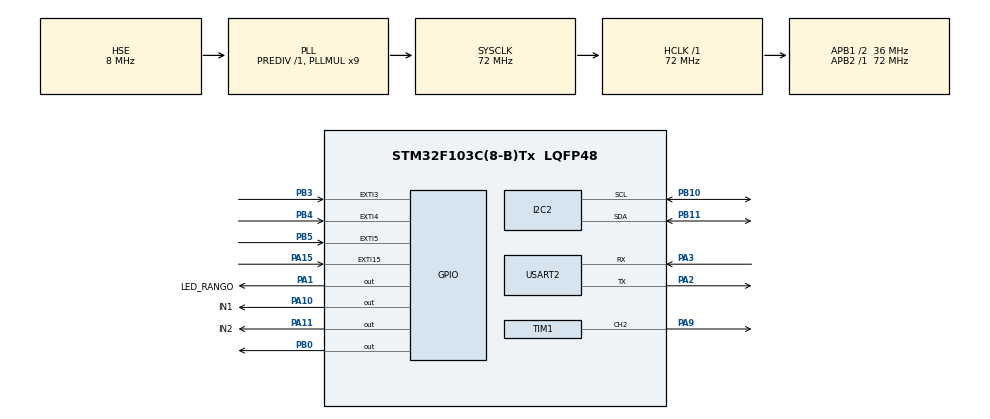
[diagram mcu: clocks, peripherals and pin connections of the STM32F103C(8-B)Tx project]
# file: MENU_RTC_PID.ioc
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Mcu.Family=STM32F1
RCC.PLLSourceVirtual=RCC_PLLSOURCE_HSE
NVIC.EXTI4_IRQn=true\:5\:0\:true\:false\:true\:true\:true
PD1-OSC_OUT.Mode=HSE-External-Oscillator
PB10.Mode=I2C
PB4.GPIO_ModeDefaultEXTI=GPIO_MODE_IT_FALLING
NVIC.EXTI3_IRQn=true\:5\:0\:true\:false\:true\:true\:true
PA11.GPIO_Label=IN2
PD0-OSC_IN.Signal=RCC_OSC_IN
PB3.GPIO_ModeDefaultEXTI=GPIO_MODE_IT_FALLING
RCC.APB1CLKDivider=RCC_HCLK_DIV2
PB11.Signal=I2C2_SDA
RCC.SYSCLKSource=RCC_SYSCLKSOURCE_PLLCLK
ProjectManager.StackSize=0x400
PD1-OSC_OUT.Signal=RCC_OSC_OUT
PA3.Mode=Asynchronous
PA13.Signal=SYS_JTMS-SWDIO
TIM1.Prescaler=71
PB11.Mode=I2C
ProjectManager.TargetToolchain=STM32CubeIDE
PA15.GPIO_ModeDefaultEXTI=GPIO_MODE_IT_FALLING
RCC.HCLKFreq_Value=72000000
RCC.APB2TimFreq_Value=72000000
PA9.Signal=S_TIM1_CH2
TIM1.Channel-PWM\ Generation2\ CH2=TIM_CHANNEL_2
PB4.GPIO_PuPd=GPIO_PULLUP
RCC.USBFreq_Value=72000000
PA1.Signal=GPIO_Output
RCC.AHBFreq_Value=72000000
PD0-OSC_IN.Mode=HSE-External-Oscillator
PB10.Signal=I2C2_SCL
NVIC.EXTI15_10_IRQn=true\:5\:0\:true\:false\:true\:true\:true
board=custom
RCC.PLLMUL=RCC_PLL_MUL9
RCC.APB2Freq_Value=72000000
PB3.GPIO_PuPd=GPIO_PULLUP
SH.S_TIM1_CH2.0=TIM1_CH2,PWM Generation2 CH2
PA14.Mode=Serial_Wire
NVIC.TIM2_IRQn=true\:0\:0\:false\:false\:true\:false\:true
PA10.GPIO_Label=IN1
PA1.GPIO_Label=LED_RANGO
PA13.Mode=Serial_Wire
Mcu.Name=STM32F103C(8-B)Tx
PA2.Signal=USART2_TX
PB3.Signal=GPXTI3
RCC.SYSCLKFreq_VALUE=72000000
Mcu.Package=LQFP48
PB5.Signal=GPXTI5
VP_SYS_VS_tim2.Mode=TIM2
NVIC.TimeBase=TIM2_IRQn
USART2.VirtualMode=VM_ASYNC
PB5.GPIO_PuPd=GPIO_PULLUP
PA11.Signal=GPIO_Output
NVIC.TimeBaseIP=TIM2
NVIC.EXTI9_5_IRQn=true\:5\:0\:true\:false\:true\:true\:true
PA10.Signal=GPIO_Output
PA14.Signal=SYS_JTCK-SWCLK
PA15.Signal=GPXTI15
ProjectManager.HeapSize=0x200
NVIC.PriorityGroup=NVIC_PRIORITYGROUP_4
PA15.GPIO_PuPd=GPIO_PULLUP
RCC.APB1TimFreq_Value=72000000
PA2.Mode=Asynchronous
TIM1.Period=999
RCC.APB1Freq_Value=36000000
PB0.Signal=GPIO_Output
PB4.Signal=GPXTI4
PA3.Signal=USART2_RX
PB5.GPIO_ModeDefaultEXTI=GPIO_MODE_IT_FALLING

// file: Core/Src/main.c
/* USER CODE BEGIN Header */
/**
  ******************************************************************************
  * @file           : main.c
  * @brief          : Main program body
  ******************************************************************************
  * @attention
  *
  * <h2><center>&copy; Copyright (c) 2025 STMicroelectronics.
  * All rights reserved.</center></h2>
  *
  * This software component is licensed by ST under BSD 3-Clause license,
  * the "License"; You may not use this file except in compliance with the
  * License. You may obtain a copy of the License at:
  *                        opensource.org/licenses/BSD-3-Clause
  *
  ******************************************************************************
  */
/* USER CODE END Header */
#include "main.h"
#include "FreeRTOS.h"
#include "task.h"
#include "queue.h"
#include "lcd_i2c.h"
#include <stdio.h>
#include <string.h>
#include "semphr.h"
#include "math.h"

/* USER CODE BEGIN Includes */

#define MIN_PWM       200    // valor mínimo de PWM para mover el motor

/* USER CODE END Includes */

I2C_HandleTypeDef hi2c2;

TIM_HandleTypeDef htim1;

UART_HandleTypeDef huart2;

/* USER CODE BEGIN PV */

QueueHandle_t I2C_txQueue;
QueueHandle_t I2C_rxQueue;
QueueHandle_t angleQueue;
QueueHandle_t rtcQueue;
QueueHandle_t angleQueuePID;
QueueHandle_t controlQueue;

SemaphoreHandle_t sem_btn0;
SemaphoreHandle_t sem_btn1;
SemaphoreHandle_t sem_btn2;
SemaphoreHandle_t sem_btn3;

typedef struct {
    float angle;   // setpoint en grados
    uint8_t mode;     // 0 = lento, 1 = rápido
    float margen;  // margen del setpoint
} ControlParams_t;

typedef struct {
    uint16_t angle;   // 0–360
    uint8_t mode;     // Control mode: 0=normal, 1=lento
} setpoint_t;

volatile uint8_t editing_setpoint = 0;
volatile uint8_t editing_datalogg = 0;
volatile uint8_t edit_sp_field = 0; // 0 = centenas, 1 = decenas, 2 = unidades, 3 = modo
volatile uint8_t last_index=99;
volatile uint16_t datalog_index = 0;   // índice actual (0..datalog_count-1)
volatile uint16_t datalog_count = 15;   // cantidad de líneas guardadas (get_data_offset_line)

uint8_t datalogg = 0;

uint8_t editing_margin = 0;
int edit_margin_field = 0;   // 0 = decenas, 1 = unidades

int margin_value = 1;                      // Margen de 1 Grado por defecto en Tarea button
volatile setpoint_t sp_editing = {0, 1};   // Setpoint en 0 grados y Modo lento en Tarea button

typedef enum {
    RECEIVE,
    TRANSMIT
} i2c_op_t;

typedef struct {
    uint16_t device_id;
    uint8_t reg;
    i2c_op_t type;
    uint8_t n_bytes;
    uint8_t *data;
} i2cQueue_t;

typedef struct {
    uint8_t sec, min, hour, day, month, year;
} rtc_time_t;

typedef enum {
    MENU_SETPOINT = 0,
    MENU_SET_TIME,
	MENU_MARGEN,
	MENU_DATALOGGER,
	MENU_TOTAL_ITEMS
} menu_option_t;

typedef struct {
    uint16_t sec_min, hour_day, month_year;
} rtc_time_halfword_t;

volatile menu_option_t menu_selected = MENU_SETPOINT;
volatile uint8_t editing_time = 0;
volatile uint8_t edit_field = 0;
rtc_time_t rtc_editing;

// PID variables

float kp = 5.0f;
float ki = 0.002f;
float kd = 0.1f;
float pid_integral = 0.0f;
float pid_last_error = 0.0f;

// PWM limits
uint16_t pwm_max = 500;   // Máxima salida
uint16_t pwm_slow = 250;  // Modo lento

uint32_t flashAddress = 0x0800FC00; // Last 1KB page (page 63)
#define FLASH_ADDRESS_PAGE 63

/* USER CODE END PV */

void SystemClock_Config(void);
static void MX_GPIO_Init(void);
static void MX_I2C2_Init(void);
static void MX_USART2_UART_Init(void);
static void MX_TIM1_Init(void);
/* USER CODE BEGIN PFP */

void write_flash(uint32_t address, uint32_t offset, uint16_t data);
void read_flash(uint8_t* readValue,uint8_t offset);
void erase_flash(uint32_t pageAddress);
int  save_struct_flash(const rtc_time_t *data, float error, float setpoint); //1 si error , 0 si ok
void save_time_data(const rtc_time_t *data, uint32_t offset);
void save_data_value(float setpoint, float error, uint32_t offset);
uint8_t get_data_offset();
void read_time_date(rtc_time_t *data,uint32_t line);
void read_saved_sp(float *data,uint32_t line);
void read_saved_err(float *data,uint32_t line);
uint32_t get_data_offset_line();

/* USER CODE END PFP */

/* USER CODE BEGIN 0 */

void write_flash(uint32_t address, uint32_t offset, uint16_t data){
	//uint32_t flashAddress = 0x0800FC00; // Last 1KB page (page 63)
    if(address < 0x08000000 || address >= 0x08010000) {
        return; // Invalid address
    }
    //SOLO PUEDO ESCRIBIR DE A MEDIA PALABRA = 16BITS
    HAL_FLASH_Unlock();
    uint32_t write_address = address+(1*offset);
    HAL_FLASH_Program(FLASH_TYPEPROGRAM_HALFWORD, write_address, data);
    HAL_FLASH_Lock();
}
void read_flash(uint8_t* readValue,uint8_t offset){

    *readValue = *(__IO uint8_t*)(flashAddress+(offset));
}
void read_time_date(rtc_time_t *data,uint32_t line){
	rtc_time_t temp;
	read_flash(&temp.sec, 	0x10*line +	0);
	read_flash(&temp.min, 	0x10*line +	1);
	read_flash(&temp.hour, 	0x10*line +	2);
	read_flash(&temp.day, 	0x10*line +	3);
	read_flash(&temp.month, 	0x10*line +	4);
	read_flash(&temp.year, 	0x10*line +	5);

	*data=temp;
}
void read_saved_sp(float *data,uint32_t line){
	uint8_t temp_int;
	uint8_t temp_flt;
	read_flash(&temp_int, 	0x10*line +	8);
	read_flash(&temp_flt, 	0x10*line +	9);
	*data	=	(float)temp_int + ((float)temp_flt / 100.0f);
}
void read_saved_err(float *data,uint32_t line){
	uint8_t temp_int;
	uint8_t temp_flt;
	read_flash(&temp_int, 	0x10*line +	12);
	read_flash(&temp_flt, 	0x10*line +	13);
	*data	=	(float)temp_int + ((float)temp_flt / 100.0f);
}

void erase_flash(uint32_t pageAddress){
	//HACER FULL ERASE LA PRIMERA VEZ QUE CORRE EL PROGRAMA
	    if((pageAddress < 0x08000000) ||
	       (pageAddress >= 0x08010000) ||
	       ((pageAddress & 0x3FF) != 0)) { // Checkeo 1KB alineamiento
	        return;
	    }
	    FLASH_EraseInitTypeDef eraseInit;
	    eraseInit.TypeErase = FLASH_TYPEERASE_PAGES;
	    eraseInit.PageAddress = pageAddress;
	    eraseInit.NbPages = 1;
	    uint32_t PageError;
	    HAL_FLASH_Unlock();
	    HAL_FLASHEx_Erase(&eraseInit, &PageError);
	    HAL_FLASH_Lock();
}
int save_struct_flash(const rtc_time_t *data, float error, float setpoint){
	uint8_t offset=get_data_offset();
	if(offset>=250) return 1;	//maximo 15 valores a guardar
	save_time_data(data, offset);
	save_data_value(setpoint, error, offset);
	return 0;
}

void save_time_data(const rtc_time_t *data, uint32_t offset){
	//en bytes=
	//SEG,MIN ; HORA,DIA ; MES,ANIO ; 0XAA,0XAA ; SP(INT),SP(FLOAT) ; 0XAA,0XAA ; ERR(INT),ERR(FLOAT)
	//escribo en halfwords
	rtc_time_halfword_t half_word_data;
	memcpy(&half_word_data, data, sizeof(rtc_time_t));
	write_flash(flashAddress,offset, half_word_data.sec_min);
	write_flash(flashAddress,2+offset, half_word_data.hour_day);
	write_flash(flashAddress,4+offset, half_word_data.month_year);
	write_flash(flashAddress,6+offset, 0xAAAA);
}
void save_data_value(float setpoint, float error, uint32_t offset){
	uint32_t off=offset+8;
	uint8_t sp_int,err_int;
	uint8_t sp_flt,err_flt;
	uint16_t sp,err;
	sp_int=(int)setpoint;
	err_int=(int)error;
	sp_flt=(int)((setpoint-sp_int)*100);
	err_flt=(int)((error-err_int)*100);
	sp=sp_flt<<8 | sp_int;
	err=err_flt<<8 | err_int;

	write_flash(flashAddress, off, sp);
	write_flash(flashAddress,2+off, 0xAAAA);
	write_flash(flashAddress,4+off, err);
	write_flash(flashAddress,6+off, 0xAAAA);
}
uint8_t get_data_offset(){
	//SIEMPRE CORRER ESTO PRIMERO PARA OBTENER EL OFFSET
	int temp=0;
	uint8_t read_value;
	uint8_t last_read_value=0x00;
	uint8_t last_last_read_value=0xFF;
	for(temp=0;temp<200;temp++){
		read_flash(&read_value,temp);
		if(read_value==0xFF && last_read_value==0xAA && last_last_read_value==0xAA) {
			return (temp);
		}
		if(read_value==0xFF && last_read_value==0xFF && last_last_read_value==0xFF) {
			return (0);
		}
		last_last_read_value=last_read_value;
		last_read_value=read_value;
	}
	return 0;
	//La func retorna el offset de flashadress donde escribir el prox valor
}
uint32_t get_data_offset_line(){
	uint8_t temp=0;
	temp=get_data_offset();
	if(temp==0)return 0;
	else return (temp>>4);
}

static float angle_error(float set, float current) {
    float e = set - current;
    if (e > 180.0f)  e -= 360.0f;
    if (e < -180.0f) e += 360.0f;
    return e;
}

static void motor_stop(void) {
    __HAL_TIM_SET_COMPARE(&htim1, TIM_CHANNEL_2, 0);
    HAL_GPIO_WritePin(IN1_GPIO_Port, IN1_Pin, GPIO_PIN_RESET);
    HAL_GPIO_WritePin(IN2_GPIO_Port, IN2_Pin, GPIO_PIN_RESET);
}

void I2C_controllerTask(void *pvParameters) {
    i2cQueue_t i2cq;
    uint8_t temp[8];
    while (1) {
        xQueueReceive(I2C_txQueue, &i2cq, portMAX_DELAY);
        if (i2cq.type == RECEIVE) {
            HAL_I2C_Master_Transmit(&hi2c2, i2cq.device_id, &i2cq.reg, 1, 10);
            HAL_I2C_Master_Receive(&hi2c2, i2cq.device_id, temp, i2cq.n_bytes, 10);
            xQueueSend(I2C_rxQueue, temp, portMAX_DELAY);
        } else {
            temp[0] = i2cq.reg;
            for (uint8_t i = 0; i < i2cq.n_bytes; i++) temp[i + 1] = i2cq.data[i];
            HAL_I2C_Master_Transmit(&hi2c2, i2cq.device_id, temp, i2cq.n_bytes + 1, 10);
        }
    }
}
void as5600_readerTask(void *pvParameters) {
    uint8_t raw_data[2];
    float angle_deg;

    i2cQueue_t i2cq;
    i2cq.device_id = 0x36 << 1;
    i2cq.reg = 0x0E;  // ANGLE register (MSB)
    i2cq.type = RECEIVE;
    i2cq.n_bytes = 2;
    i2cq.data = raw_data;

    while (1) {
        xQueueSend(I2C_txQueue, &i2cq, portMAX_DELAY);
        xQueueReceive(I2C_rxQueue, raw_data, portMAX_DELAY);

        uint16_t raw_angle = ((uint16_t)raw_data[0] << 8) | raw_data[1];
        angle_deg = (float)raw_angle * 360.0f / 4096.0f;

        xQueueOverwrite(angleQueuePID, &angle_deg);
        vTaskDelay(pdMS_TO_TICKS(20));
    }
}

void pid_controlTask(void *pvParameters) {
    float angle;
    float last_error = 0.0f;
    ControlParams_t params;   // Para recibir de controlQueue

    // Control mode: 0=normal, 1=lento

    uint8_t slow_mode = 1;      // modo lento en el Encendido
    float DEADBAND_DEG = 1.0f;  // Margen en 1 grado en el Encendido
    float setpoint = 0.0f - 26.0f;    // Setpoint en 0 grados en el Encendido

    HAL_TIM_PWM_Start(&htim1, TIM_CHANNEL_2);
    TickType_t last_tick = xTaskGetTickCount();

    for (;;) {
        xQueueReceive(angleQueuePID, &angle, portMAX_DELAY);

        if (xQueueReceive(controlQueue, &params, 0) == pdTRUE) {
               setpoint   = params.angle - 26.0f;          // actualizar setpoint
               slow_mode  = params.mode;           // actualizar modo
               DEADBAND_DEG = params.margen;       // actualizar margen
               }

        // Calcular dt real
        TickType_t now_tick = xTaskGetTickCount();
        float dt = (now_tick - last_tick) / (float)configTICK_RATE_HZ;
        if (dt <= 0) dt = 0.001f;
        last_tick = now_tick;

        float error = angle_error(setpoint, angle);

        // Si está dentro de la zona muerta, detener motor
        if (fabs(error) <= DEADBAND_DEG) {
            motor_stop();
            HAL_GPIO_WritePin(LED_RANGO_GPIO_Port, LED_RANGO_Pin, GPIO_PIN_RESET);
            pid_integral = 0.0f;
            vTaskDelay(pdMS_TO_TICKS(20));
            continue; // se utiliza para salir del loop de la tarea si se cumple la condicion fabs(error) <= DEADBAND_DEG
        }else{
        	HAL_GPIO_WritePin(LED_RANGO_GPIO_Port, LED_RANGO_Pin, GPIO_PIN_SET);
        }

        // PID
        pid_integral += error * dt;
        float derivative = (error - last_error) / dt;
        last_error = error;

        float output = kp * error + ki * pid_integral + kd * derivative;

        // Limitar salida
        float limit = slow_mode ? pwm_slow : pwm_max;
        if (output > limit) output = limit;
        if (output < -limit) output = -limit;

        // Dirección
        if (output > 0) {
            HAL_GPIO_WritePin(IN1_GPIO_Port, IN1_Pin, GPIO_PIN_SET);
            HAL_GPIO_WritePin(IN2_GPIO_Port, IN2_Pin, GPIO_PIN_RESET);
        } else {
            HAL_GPIO_WritePin(IN1_GPIO_Port, IN1_Pin, GPIO_PIN_RESET);
            HAL_GPIO_WritePin(IN2_GPIO_Port, IN2_Pin, GPIO_PIN_SET);
        }
        // Forzar PWM mínimo cuando no está en la zona muerta
        if (fabs(output) < MIN_PWM) {
            if (output > 0) output = MIN_PWM;
            else output = -MIN_PWM;
        }

        // PWM
        __HAL_TIM_SET_COMPARE(&htim1, TIM_CHANNEL_2, fabs(output));

        vTaskDelay(pdMS_TO_TICKS(20)); // ~50 Hz loop
    }
}

void buttonHandlerTask(void *pvParameters) {
    TickType_t lastPress[4] = {0};

    while (1) {
        TickType_t now = xTaskGetTickCount();

        // --- BOTÓN 1 (PA0): cambiar opción o guardar valores ---
        if (xSemaphoreTake(sem_btn0, 0) == pdTRUE && (now - lastPress[0] > pdMS_TO_TICKS(200))) {
            if (HAL_GPIO_ReadPin(GPIOB, GPIO_PIN_3) == GPIO_PIN_RESET) {
                lastPress[0] = now;

                if (!editing_time && !editing_setpoint && !editing_margin) {
                    menu_selected = (menu_selected + 1) % MENU_TOTAL_ITEMS;
                } else if (editing_time) {
                    // Guardar RTC en DS1307
                    uint8_t buf[7];
                    buf[0] = (((rtc_editing.sec / 10) << 4) | (rtc_editing.sec % 10)) & 0x7F;
                    buf[1] = ((rtc_editing.min/10)<<4)|(rtc_editing.min%10);
                    buf[2] = ((rtc_editing.hour/10)<<4)|(rtc_editing.hour%10);
                    buf[3] = 1;
                    buf[4] = ((rtc_editing.day/10)<<4)|(rtc_editing.day%10);
                    buf[5] = ((rtc_editing.month/10)<<4)|(rtc_editing.month%10);
                    buf[6] = ((rtc_editing.year/10)<<4)|(rtc_editing.year%10);
                    i2cQueue_t i2cq = {0x68 << 1, 0x00, TRANSMIT, 7, buf};
              //      xQueueSend(I2C_txQueue, &i2cq, portMAX_DELAY);
                    editing_time = 0;
                }else if (editing_setpoint) {
                    // Guardar setpoint definitivo
                    editing_setpoint = 0;
                    rtc_time_t placeholder={99,99,99,22,22,22};
                    save_struct_flash(&placeholder, sp_editing.angle, margin_value);
                }else if (editing_margin) {
                    // Guardar margen definitivo
                    editing_margin = 0;
                }
                if (editing_datalogg) {         // salir de DATALOGGER
                    editing_datalogg = 2;
                    last_index = 99;
                }

                ControlParams_t msg;
                msg.angle  = sp_editing.angle;
                msg.mode   = sp_editing.mode;
                msg.margen = margin_value;
                xQueueOverwrite(controlQueue, &msg);
            }
        }

        // --- BOTÓN 2 (PA1): entrar o cambiar campo ---
        if (xSemaphoreTake(sem_btn1, 0) == pdTRUE && (now - lastPress[1] > pdMS_TO_TICKS(200))) {
            if (HAL_GPIO_ReadPin(GPIOA, GPIO_PIN_15) == GPIO_PIN_RESET) {
                lastPress[1] = now;
                if(menu_selected == MENU_DATALOGGER && editing_datalogg && !datalogg){
                	erase_flash(flashAddress);
                	datalog_index = 0;
                	editing_datalogg = 2;
                	last_index = 99;
                }
                if (menu_selected == MENU_DATALOGGER && !datalogg){
                					datalog_index = 0;
                					last_index = 99;
                                	editing_datalogg = 1;
                                }
                else if (menu_selected == MENU_SET_TIME && !editing_time) {
                       if (xQueuePeek(rtcQueue, &rtc_editing, 0) != pdTRUE) {
                        rtc_editing.hour = 0;
                        rtc_editing.min = 0;
                        rtc_editing.sec = 0;
                        rtc_editing.day = 1;
                        rtc_editing.month = 1;
                        rtc_editing.year = 0;
                    }
                    editing_time = 1;
                    edit_field = 0; // empezamos siempre en hora
                    // Forzar un "redibujado" inmediato del menú

                } else if (menu_selected == MENU_SETPOINT && !editing_setpoint) {
                    editing_setpoint = 1;
                    edit_sp_field = 0; // empezar en centenas
                } else if (menu_selected == MENU_MARGEN && !editing_margin) {
                     editing_margin = 1;
                     edit_margin_field = 0; // empezar en decenas

                      } else if (editing_time) {
                         edit_field = (edit_field + 1) % 6;

                      } else if (editing_setpoint) {
                          edit_sp_field = (edit_sp_field + 1) % 4;

                      } else if (editing_margin) {
                          edit_margin_field = (edit_margin_field + 1) % 2; // decenas o unidades
                      }
            }
        }

        // --- BOTÓN 3 (PA2): subir valor ---
        if (xSemaphoreTake(sem_btn2, 0) == pdTRUE && (now - lastPress[2] > pdMS_TO_TICKS(200))) {
            if (HAL_GPIO_ReadPin(GPIOB, GPIO_PIN_5) == GPIO_PIN_RESET) {
                lastPress[2] = now;

                if (editing_time) {
                    switch (edit_field) {
                        case 0: if (++rtc_editing.hour > 23) rtc_editing.hour = 0; break;
                        case 1: if (++rtc_editing.min > 59)  rtc_editing.min = 0; break;
                        case 2: if (++rtc_editing.sec > 59)  rtc_editing.sec = 0; break;
                        case 3: if (++rtc_editing.day > 31)  rtc_editing.day = 1; break;
                        case 4: if (++rtc_editing.month > 12)rtc_editing.month = 1; break;
                        case 5: if (++rtc_editing.year > 99) rtc_editing.year = 0; break;
                    }
                }else if (editing_setpoint) {
                	     if (edit_sp_field == 0) { // centenas
                	            if (sp_editing.angle + 100 <= 360) sp_editing.angle += 100;
                	        } else if (edit_sp_field == 1) { // decenas
                	            if (sp_editing.angle + 10 <= 360) sp_editing.angle += 10;
                	        } else if (edit_sp_field == 2) { // unidades
                	            if (sp_editing.angle + 1 <= 360) sp_editing.angle += 1;
                	        } else if (edit_sp_field == 3) { // modo rápido/lento
                	            sp_editing.mode = !sp_editing.mode;
                	        }
                } else if (editing_margin) {
                                   if (edit_margin_field == 0) { // decenas
                                       if (margin_value + 10 <= 45) margin_value += 10;
                                   } else if (edit_margin_field == 1) { // unidades
                                       if (margin_value + 1 <= 45) margin_value += 1;
                                   }
                }else if (editing_datalogg) {
                    datalog_count = get_data_offset_line();
                    if (datalog_count > 0 && datalog_index + 1 < datalog_count) {
                        datalog_index++;                              // siguiente registro
                    }
                }
            }
        }

        // --- BOTÓN 4 (PA3): bajar valor ---
        if (xSemaphoreTake(sem_btn3, 0) == pdTRUE && (now - lastPress[3] > pdMS_TO_TICKS(200))) {
            if (HAL_GPIO_ReadPin(GPIOB, GPIO_PIN_4) == GPIO_PIN_RESET) {
                lastPress[3] = now;

                if (editing_time) {
                    switch (edit_field) {
                        case 0: rtc_editing.hour  = (rtc_editing.hour == 0) ? 23 : rtc_editing.hour - 1; break;
                        case 1: rtc_editing.min   = (rtc_editing.min == 0)  ? 59 : rtc_editing.min - 1; break;
                        case 2: rtc_editing.sec   = (rtc_editing.sec == 0)  ? 59 : rtc_editing.sec - 1; break;
                        case 3: rtc_editing.day   = (rtc_editing.day == 1)  ? 31 : rtc_editing.day - 1; break;
                        case 4: rtc_editing.month = (rtc_editing.month == 1)? 12 : rtc_editing.month - 1; break;
                        case 5: rtc_editing.year  = (rtc_editing.year == 0) ? 99 : rtc_editing.year - 1; break;
                    }
                }else if (editing_setpoint) {
                         if (edit_sp_field == 0) { // centenas
                            if (sp_editing.angle >= 100) sp_editing.angle -= 100;
                    } else if (edit_sp_field == 1) { // decenas
                        if (sp_editing.angle >= 10) sp_editing.angle -= 10;
                    } else if (edit_sp_field == 2) { // unidades
                        if (sp_editing.angle >= 1) sp_editing.angle -= 1;
                    } else if (edit_sp_field == 3) { // modo rápido/lento
                        sp_editing.mode = !sp_editing.mode;
                    }
                }
                else if (editing_margin) {
                                    if (edit_margin_field == 0) { // decenas
                                        if (margin_value >= 10) margin_value -= 10;
                                    } else if (edit_margin_field == 1) { // unidades
                                        if (margin_value > 1) margin_value -= 1;
                                    }
                }else if (editing_datalogg) {
                    if (datalog_index > 0) {
                        datalog_index--;                              // registro anterior
                    }
                }

            }
        }

        vTaskDelay(pdMS_TO_TICKS(10));
    }
}

void menuTask(void *pvParameters) {
    lcd_init();
    lcd_clear();
    char buffer[17];
    TickType_t last_blink = 0;
    uint8_t blink_state = 1;
    uint8_t last_editing_time = 0;
    uint8_t last_editing_setpoint = 0;
    uint8_t last_editing_margin = 0;
    uint8_t last_editing_datalogg = 2;
    rtc_time_t date_time_print = {0,0,0,0,0,0};
    uint8_t linea_data = 0;
    //uint8_t last_index=99;

    float 	sp_print,err_print = 0.0f;

    while (1) {
        TickType_t now = xTaskGetTickCount();
        if (now - last_blink >= pdMS_TO_TICKS(500)) {
            blink_state = !blink_state;
            last_blink = now;
        }

        if (!editing_time && !editing_setpoint && !editing_margin && !editing_datalogg ) {
            // --- Menú principal ---
            lcd_goto_XY(0, 0);
            lcd_send_string(menu_selected == MENU_SETPOINT ? "> Setpoint " : "  Setpoint ");
            lcd_goto_XY(1, 0);
            lcd_send_string(menu_selected == MENU_SET_TIME ? "> Set time/date" : "  Set time/date");
            lcd_goto_XY(2, 0);
            lcd_send_string(menu_selected == MENU_MARGEN ? "> Margen Setpoint " : "  Margen Setpoint ");
            lcd_goto_XY(3, 0);
            lcd_send_string(menu_selected == MENU_DATALOGGER ? "> Datalogger " : "  Datalogger ");
        }
        else if (editing_time) {
            // --- Edición de hora/fecha ---
            // Línea 0: Hora
            lcd_goto_XY(0, 0);
            if (edit_field == 0 && !blink_state) lcd_send_string("  ");
            else { snprintf(buffer, sizeof(buffer), "%02u", rtc_editing.hour); lcd_send_string(buffer); }
            lcd_send_string(":");
            if (edit_field == 1 && !blink_state) lcd_send_string("  ");
            else { snprintf(buffer, sizeof(buffer), "%02u", rtc_editing.min); lcd_send_string(buffer); }
            lcd_send_string(":");
            if (edit_field == 2 && !blink_state) lcd_send_string("  ");
            else { snprintf(buffer, sizeof(buffer), "%02u", rtc_editing.sec); lcd_send_string(buffer); }

            // Línea 1: Fecha
            lcd_goto_XY(1, 0);
            if (edit_field == 3 && !blink_state) lcd_send_string("  ");
            else { snprintf(buffer, sizeof(buffer), "%02u", rtc_editing.day); lcd_send_string(buffer); }
            lcd_send_string("/");
            if (edit_field == 4 && !blink_state) lcd_send_string("  ");
            else { snprintf(buffer, sizeof(buffer), "%02u", rtc_editing.month); lcd_send_string(buffer); }
            lcd_send_string("/");
            if (edit_field == 5 && !blink_state) lcd_send_string("  ");
            else { snprintf(buffer, sizeof(buffer), "%02u", rtc_editing.year); lcd_send_string(buffer); }
        }
        else if (editing_setpoint) {
            // --- Edición de setpoint ---
            lcd_goto_XY(0, 0);
            lcd_send_string("Setpoint:");

            // Línea 1: ángulo con centenas/decenas/unidades
            lcd_goto_XY(1, 0);
            snprintf(buffer, sizeof(buffer), "%03u %c   ", sp_editing.angle,0xDF);

            if (edit_sp_field == 0 && !blink_state) buffer[0] = ' ';
            if (edit_sp_field == 1 && !blink_state) buffer[1] = ' ';
            if (edit_sp_field == 2 && !blink_state) buffer[2] = ' ';
            lcd_send_string(buffer);

            // Línea 2: modo rápido/lento
            lcd_goto_XY(2, 0);
            if (edit_sp_field == 3 && !blink_state) {
                lcd_send_string("              ");
            } else {
                lcd_send_string(sp_editing.mode ? "Modo: Lento" : "Modo: Rapido");
            }
        }

        else if (editing_margin) {
                    // --- Edición de margen ---
                    lcd_goto_XY(0, 0);
                    lcd_send_string("Margen SP:");

                    // Línea 1: valor del margen con decenas/unidades
                    lcd_goto_XY(1, 0);
                    snprintf(buffer, sizeof(buffer), "%02u%c     ", margin_value, 0xDF);

                    if (edit_margin_field == 0 && !blink_state) buffer[0] = ' ';
                    if (edit_margin_field == 1 && !blink_state) buffer[1] = ' ';
                    lcd_send_string(buffer);
                }
                    else if (editing_datalogg){
                	// --- Impresión de datalog ---
                    	linea_data = get_data_offset_line();
                    	        	lcd_goto_XY(0, 0);
                    	        	//cursor : datalog_index
                    	        	if(linea_data==0 && last_index != datalog_index){
                    	        		lcd_clear();
                    	        		lcd_send_string("No data");
                    	        		last_index = datalog_index;
                    	        	}
                    	        	if(linea_data>=1 && last_index != datalog_index) {
                    	        		lcd_clear();
                    	        		read_saved_sp(&sp_print, datalog_index);
                    	        		read_saved_err(&err_print, datalog_index);
                    	        		read_time_date(&date_time_print, datalog_index);

                    	        		lcd_send_string("Log n");
                    	        		        		snprintf(buffer, sizeof(buffer), "%d", datalog_index+1);
                    	        		        		lcd_send_string(buffer);
                    	        		        		lcd_send_string(": ");
                    	        		        		snprintf(buffer, sizeof(buffer), "%02u", date_time_print.sec);
                    	        		        		lcd_send_string(buffer);
                    	        		        		lcd_send_string("/");
                    	        		        		snprintf(buffer, sizeof(buffer), "%02u", date_time_print.min);
                    	        		        		lcd_send_string(buffer);
                    	        		        		lcd_send_string("/");
                    	        		        		snprintf(buffer, sizeof(buffer), "%02u", date_time_print.hour);
                    	        		        		lcd_send_string(buffer);

                    	        		        		lcd_goto_XY(1, 0);
                    	        		        		lcd_send_string("         ");
                    	        		        		snprintf(buffer, sizeof(buffer), "%02u", date_time_print.day);
                    	        		        		lcd_send_string(buffer);
                    	        		        		lcd_send_string("/");
                    	        		        		snprintf(buffer, sizeof(buffer), "%02u", date_time_print.month);
                    	        		        		lcd_send_string(buffer);
                    	        		        		lcd_send_string("/");
                    	        		        		snprintf(buffer, sizeof(buffer), "%02u", date_time_print.year);
                    	        		        		lcd_send_string(buffer);

                    	        		        		lcd_goto_XY(2, 0);
                    	        		        		lcd_send_string("E: ");
                    	        		        		snprintf(buffer, sizeof(buffer), "%.2f", sp_print);
                    	        		        		lcd_send_string(buffer);

                    	        		        		lcd_send_string(" S: ");
                    	        		        		snprintf(buffer, sizeof(buffer), "%.2f", err_print);
                    	        		        		lcd_send_string(buffer);

                    	        		        		lcd_goto_XY(3, 0);
                    	        		        		lcd_send_string("Datos totales = ");
                    	        		        		snprintf(buffer, sizeof(buffer), "%02u", linea_data);
                    	        		        		lcd_send_string(buffer);
                    	        		        		last_index = datalog_index;
                    	        	}
                 }

        // Limpieza de pantalla al entrar/salir de edición
        if ((editing_time != last_editing_time) || (editing_setpoint != last_editing_setpoint)|| (editing_margin != last_editing_margin) || (editing_datalogg == last_editing_datalogg)) {
            for (int i = 0; i < 4; i++) {
                lcd_goto_XY(i, 0);
                lcd_send_string("                    "); // borra toda la línea
            }
            editing_datalogg = 0;
            last_editing_time = editing_time;
            last_editing_setpoint = editing_setpoint;
            last_editing_margin = editing_margin;
        }

        vTaskDelay(pdMS_TO_TICKS(100));
    }
}

/*
void rtcSerialDebugTask(void *pvParameters) {
    i2cQueue_t i2cq;
    uint8_t data[7];
    rtc_time_t rtc_now;
    char buffer[64];

    while (1) {
        // Pedir lectura al DS1307 (7 bytes desde reg 0x00)
        i2cq.device_id = 0x68 << 1;
        i2cq.reg = 0x00;
        i2cq.type = RECEIVE;
        i2cq.n_bytes = 7;
        i2cq.data = NULL;

        xQueueSend(I2C_txQueue, &i2cq, portMAX_DELAY);

        if (xQueueReceive(I2C_rxQueue, data, pdMS_TO_TICKS(50)) == pdTRUE) {
            // Convertir de BCD a binario
            rtc_now.sec   = ((data[0] >> 4) * 10) + (data[0] & 0x0F);
            rtc_now.min   = ((data[1] >> 4) * 10) + (data[1] & 0x0F);
            rtc_now.hour  = ((data[2] >> 4) * 10) + (data[2] & 0x0F);
            rtc_now.day   = ((data[4] >> 4) * 10) + (data[4] & 0x0F);
            rtc_now.month = ((data[5] >> 4) * 10) + (data[5] & 0x0F);
            rtc_now.year  = ((data[6] >> 4) * 10) + (data[6] & 0x0F);

            // Mostrar por UART
            snprintf(buffer, sizeof(buffer), "Fecha/Hora: %02u/%02u/%02u %02u:%02u:%02u\r\n",
                     rtc_now.day, rtc_now.month, rtc_now.year,
                     rtc_now.hour, rtc_now.min, rtc_now.sec);
            HAL_UART_Transmit(&huart2, (uint8_t*)buffer, strlen(buffer), HAL_MAX_DELAY);
        }

        vTaskDelay(pdMS_TO_TICKS(2000)); // Esperar 2 segundos
    }
}

*/

void EXTI3_IRQHandler(void) {
    HAL_GPIO_EXTI_IRQHandler(GPIO_PIN_3);
    BaseType_t xHigherPriorityTaskWoken = pdFALSE;
    xSemaphoreGiveFromISR(sem_btn0, &xHigherPriorityTaskWoken);
    portYIELD_FROM_ISR(xHigherPriorityTaskWoken);
}

void EXTI4_IRQHandler(void) {
    HAL_GPIO_EXTI_IRQHandler(GPIO_PIN_4);
    BaseType_t xHigherPriorityTaskWoken = pdFALSE;
    xSemaphoreGiveFromISR(sem_btn3, &xHigherPriorityTaskWoken);
    portYIELD_FROM_ISR(xHigherPriorityTaskWoken);
}

void EXTI9_5_IRQHandler(void) {
    HAL_GPIO_EXTI_IRQHandler(GPIO_PIN_5);
    BaseType_t xHigherPriorityTaskWoken = pdFALSE;
    xSemaphoreGiveFromISR(sem_btn2, &xHigherPriorityTaskWoken);
    portYIELD_FROM_ISR(xHigherPriorityTaskWoken);
}

void EXTI15_10_IRQHandler(void) {
    HAL_GPIO_EXTI_IRQHandler(GPIO_PIN_15);
    BaseType_t xHigherPriorityTaskWoken = pdFALSE;
    xSemaphoreGiveFromISR(sem_btn1, &xHigherPriorityTaskWoken);
    portYIELD_FROM_ISR(xHigherPriorityTaskWoken);
}

/* USER CODE END 0 */

int main(void)
{

  /* MCU Configuration--------------------------------------------------------*/

  /* Reset of all peripherals, Initializes the Flash interface and the Systick. */
  HAL_Init();

  /* Configure the system clock */
  SystemClock_Config();

  /* Initialize all configured peripherals */
  MX_GPIO_Init();
  MX_I2C2_Init();
  MX_USART2_UART_Init();
  MX_TIM1_Init();
  /* USER CODE BEGIN 2 */

  sem_btn0 = xSemaphoreCreateBinary();
  sem_btn1 = xSemaphoreCreateBinary();
  sem_btn2 = xSemaphoreCreateBinary();
  sem_btn3 = xSemaphoreCreateBinary();

  I2C_txQueue = xQueueCreate(4, sizeof(i2cQueue_t));
  I2C_rxQueue = xQueueCreate(4, sizeof(uint8_t) * 8);
  angleQueue = xQueueCreate(2, sizeof(float));
  angleQueuePID  = xQueueCreate(1, sizeof(float));
  rtcQueue = xQueueCreate(2, sizeof(rtc_time_t));
  controlQueue = xQueueCreate(1, sizeof(ControlParams_t)); // de 1 elemento para mantener los ultimos valores

  xTaskCreate(I2C_controllerTask, "I2C_Guardian", 256, NULL, 2, NULL);
  xTaskCreate(pid_controlTask, "PID_Control", 256, NULL, 2, NULL);
  xTaskCreate(buttonHandlerTask, "Buttons", 256, NULL, 2, NULL);
  xTaskCreate(as5600_readerTask, "AS5600", 256, NULL, 1, NULL);
  xTaskCreate(menuTask, "Menu", 256, NULL, 1, NULL);
//  xTaskCreate(rtcSerialDebugTask, "RTC_Debug", 256, NULL, 1, NULL);

//     xTaskCreate(lcd_displayTask, "LCD", 256, NULL, 1, NULL);

  vTaskStartScheduler();

  /* USER CODE END 2 */

  /* Infinite loop */
  while (1)
  {

  }
}

void SystemClock_Config(void)
{
  RCC_OscInitTypeDef RCC_OscInitStruct = {0};
  RCC_ClkInitTypeDef RCC_ClkInitStruct = {0};

  /** Initializes the RCC Oscillators according to the specified parameters
  * in the RCC_OscInitTypeDef structure.
  */
  RCC_OscInitStruct.OscillatorType = RCC_OSCILLATORTYPE_HSE;
  RCC_OscInitStruct.HSEState = RCC_HSE_ON;
  RCC_OscInitStruct.HSEPredivValue = RCC_HSE_PREDIV_DIV1;
  RCC_OscInitStruct.HSIState = RCC_HSI_ON;
  RCC_OscInitStruct.PLL.PLLState = RCC_PLL_ON;
  RCC_OscInitStruct.PLL.PLLSource = RCC_PLLSOURCE_HSE;
  RCC_OscInitStruct.PLL.PLLMUL = RCC_PLL_MUL9;
  if (HAL_RCC_OscConfig(&RCC_OscInitStruct) != HAL_OK)
  {
    Error_Handler();
  }
  /** Initializes the CPU, AHB and APB buses clocks
  */
  RCC_ClkInitStruct.ClockType = RCC_CLOCKTYPE_HCLK|RCC_CLOCKTYPE_SYSCLK
                              |RCC_CLOCKTYPE_PCLK1|RCC_CLOCKTYPE_PCLK2;
  RCC_ClkInitStruct.SYSCLKSource = RCC_SYSCLKSOURCE_PLLCLK;
  RCC_ClkInitStruct.AHBCLKDivider = RCC_SYSCLK_DIV1;
  RCC_ClkInitStruct.APB1CLKDivider = RCC_HCLK_DIV2;
  RCC_ClkInitStruct.APB2CLKDivider = RCC_HCLK_DIV1;

  if (HAL_RCC_ClockConfig(&RCC_ClkInitStruct, FLASH_LATENCY_2) != HAL_OK)
  {
    Error_Handler();
  }
}

static void MX_I2C2_Init(void)
{

  hi2c2.Instance = I2C2;
  hi2c2.Init.ClockSpeed = 100000;
  hi2c2.Init.DutyCycle = I2C_DUTYCYCLE_2;
  hi2c2.Init.OwnAddress1 = 0;
  hi2c2.Init.AddressingMode = I2C_ADDRESSINGMODE_7BIT;
  hi2c2.Init.DualAddressMode = I2C_DUALADDRESS_DISABLE;
  hi2c2.Init.OwnAddress2 = 0;
  hi2c2.Init.GeneralCallMode = I2C_GENERALCALL_DISABLE;
  hi2c2.Init.NoStretchMode = I2C_NOSTRETCH_DISABLE;
  if (HAL_I2C_Init(&hi2c2) != HAL_OK)
  {
    Error_Handler();
  }

}

static void MX_TIM1_Init(void)
{

  TIM_MasterConfigTypeDef sMasterConfig = {0};
  TIM_OC_InitTypeDef sConfigOC = {0};
  TIM_BreakDeadTimeConfigTypeDef sBreakDeadTimeConfig = {0};

  htim1.Instance = TIM1;
  htim1.Init.Prescaler = 71;
  htim1.Init.CounterMode = TIM_COUNTERMODE_UP;
  htim1.Init.Period = 999;
  htim1.Init.ClockDivision = TIM_CLOCKDIVISION_DIV1;
  htim1.Init.RepetitionCounter = 0;
  htim1.Init.AutoReloadPreload = TIM_AUTORELOAD_PRELOAD_DISABLE;
  if (HAL_TIM_PWM_Init(&htim1) != HAL_OK)
  {
    Error_Handler();
  }
  sMasterConfig.MasterOutputTrigger = TIM_TRGO_RESET;
  sMasterConfig.MasterSlaveMode = TIM_MASTERSLAVEMODE_DISABLE;
  if (HAL_TIMEx_MasterConfigSynchronization(&htim1, &sMasterConfig) != HAL_OK)
  {
    Error_Handler();
  }
  sConfigOC.OCMode = TIM_OCMODE_PWM1;
  sConfigOC.Pulse = 0;
  sConfigOC.OCPolarity = TIM_OCPOLARITY_HIGH;
  sConfigOC.OCNPolarity = TIM_OCNPOLARITY_HIGH;
  sConfigOC.OCFastMode = TIM_OCFAST_DISABLE;
  sConfigOC.OCIdleState = TIM_OCIDLESTATE_RESET;
  sConfigOC.OCNIdleState = TIM_OCNIDLESTATE_RESET;
  if (HAL_TIM_PWM_ConfigChannel(&htim1, &sConfigOC, TIM_CHANNEL_2) != HAL_OK)
  {
    Error_Handler();
  }
  sBreakDeadTimeConfig.OffStateRunMode = TIM_OSSR_DISABLE;
  sBreakDeadTimeConfig.OffStateIDLEMode = TIM_OSSI_DISABLE;
  sBreakDeadTimeConfig.LockLevel = TIM_LOCKLEVEL_OFF;
  sBreakDeadTimeConfig.DeadTime = 0;
  sBreakDeadTimeConfig.BreakState = TIM_BREAK_DISABLE;
  sBreakDeadTimeConfig.BreakPolarity = TIM_BREAKPOLARITY_HIGH;
  sBreakDeadTimeConfig.AutomaticOutput = TIM_AUTOMATICOUTPUT_DISABLE;
  if (HAL_TIMEx_ConfigBreakDeadTime(&htim1, &sBreakDeadTimeConfig) != HAL_OK)
  {
    Error_Handler();
  }
  HAL_TIM_MspPostInit(&htim1);

}

static void MX_USART2_UART_Init(void)
{

  huart2.Instance = USART2;
  huart2.Init.BaudRate = 115200;
  huart2.Init.WordLength = UART_WORDLENGTH_8B;
  huart2.Init.StopBits = UART_STOPBITS_1;
  huart2.Init.Parity = UART_PARITY_NONE;
  huart2.Init.Mode = UART_MODE_TX_RX;
  huart2.Init.HwFlowCtl = UART_HWCONTROL_NONE;
  huart2.Init.OverSampling = UART_OVERSAMPLING_16;
  if (HAL_UART_Init(&huart2) != HAL_OK)
  {
    Error_Handler();
  }

}

static void MX_GPIO_Init(void)
{
  GPIO_InitTypeDef GPIO_InitStruct = {0};

  /* GPIO Ports Clock Enable */
  __HAL_RCC_GPIOD_CLK_ENABLE();
  __HAL_RCC_GPIOA_CLK_ENABLE();
  __HAL_RCC_GPIOB_CLK_ENABLE();

  /*Configure GPIO pin Output Level */
  HAL_GPIO_WritePin(GPIOA, LED_RANGO_Pin|IN1_Pin|IN2_Pin, GPIO_PIN_RESET);

  /*Configure GPIO pin Output Level */
  HAL_GPIO_WritePin(GPIOB, GPIO_PIN_0, GPIO_PIN_RESET);

  /*Configure GPIO pins : LED_RANGO_Pin IN1_Pin IN2_Pin */
  GPIO_InitStruct.Pin = LED_RANGO_Pin|IN1_Pin|IN2_Pin;
  GPIO_InitStruct.Mode = GPIO_MODE_OUTPUT_PP;
  GPIO_InitStruct.Pull = GPIO_NOPULL;
  GPIO_InitStruct.Speed = GPIO_SPEED_FREQ_LOW;
  HAL_GPIO_Init(GPIOA, &GPIO_InitStruct);

  /*Configure GPIO pin : PB0 */
  GPIO_InitStruct.Pin = GPIO_PIN_0;
  GPIO_InitStruct.Mode = GPIO_MODE_OUTPUT_PP;
  GPIO_InitStruct.Pull = GPIO_NOPULL;
  GPIO_InitStruct.Speed = GPIO_SPEED_FREQ_LOW;
  HAL_GPIO_Init(GPIOB, &GPIO_InitStruct);

  /*Configure GPIO pin : PA15 */
  GPIO_InitStruct.Pin = GPIO_PIN_15;
  GPIO_InitStruct.Mode = GPIO_MODE_IT_FALLING;
  GPIO_InitStruct.Pull = GPIO_PULLUP;
  HAL_GPIO_Init(GPIOA, &GPIO_InitStruct);

  /*Configure GPIO pins : PB3 PB4 PB5 */
  GPIO_InitStruct.Pin = GPIO_PIN_3|GPIO_PIN_4|GPIO_PIN_5;
  GPIO_InitStruct.Mode = GPIO_MODE_IT_FALLING;
  GPIO_InitStruct.Pull = GPIO_PULLUP;
  HAL_GPIO_Init(GPIOB, &GPIO_InitStruct);

  /* EXTI interrupt init*/
  HAL_NVIC_SetPriority(EXTI3_IRQn, 5, 0);
  HAL_NVIC_EnableIRQ(EXTI3_IRQn);

  HAL_NVIC_SetPriority(EXTI4_IRQn, 5, 0);
  HAL_NVIC_EnableIRQ(EXTI4_IRQn);

  HAL_NVIC_SetPriority(EXTI9_5_IRQn, 5, 0);
  HAL_NVIC_EnableIRQ(EXTI9_5_IRQn);

  HAL_NVIC_SetPriority(EXTI15_10_IRQn, 5, 0);
  HAL_NVIC_EnableIRQ(EXTI15_10_IRQn);

}

 /**
  * @brief  Period elapsed callback in non blocking mode
  * @note   This function is called  when TIM2 interrupt took place, inside
  * HAL_TIM_IRQHandler(). It makes a direct call to HAL_IncTick() to increment
  * a global variable "uwTick" used as application time base.
  * @param  htim : TIM handle
  * @retval None
  */
void HAL_TIM_PeriodElapsedCallback(TIM_HandleTypeDef *htim)
{
  if (htim->Instance == TIM2) {
    HAL_IncTick();
  }
}

void Error_Handler(void)
{
  __disable_irq();
  while (1)
  {
  }
}

/************************ (C) COPYRIGHT STMicroelectronics *****END OF FILE****/
